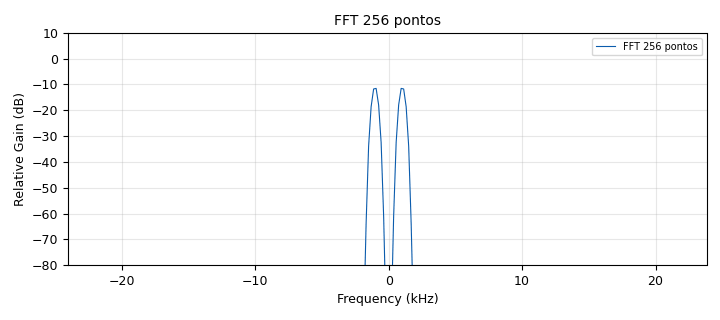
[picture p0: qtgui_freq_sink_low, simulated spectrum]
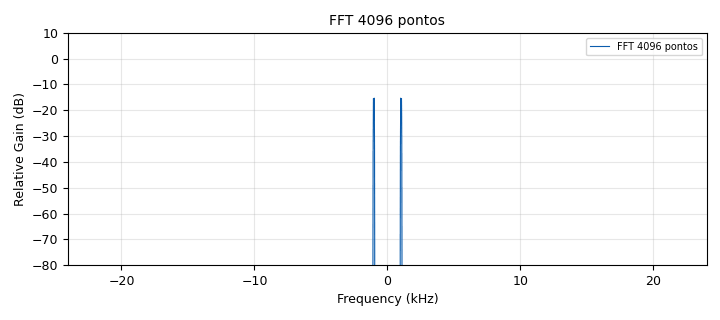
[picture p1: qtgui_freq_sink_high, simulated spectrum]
options:
  parameters:
    author: Curso PriCom - UnB
    comment: |-
      Exemplo 08 - DFT e Efeito de Janelamento
      Mostra vazamento espectral e resolucao em frequencia com diferentes tamanhos de FFT.
    description: DFT e Efeito de Janelamento
    generate_options: qt_gui
    id: exemplo_08_dft_janelamento
    output_language: python
    title: Exemplo 08 - DFT e Efeito de Janelamento
  states: {}

blocks:
- name: samp_rate
  id: variable
  parameters:
    comment: Taxa de amostragem
    value: '48000'
  states: {}
- name: note_info
  id: note
  parameters:
    comment: 'JANELAMENTO/RESOLUCAO: Com FFT de 256 pontos (resolucao ~188Hz), as duas senoides (1000 e 1050 Hz) se confundem. Com 4096 pontos (resolucao ~12Hz), sao resolvidas.'
    note: Resolucao FFT
  states: {}
- name: cos_1000
  id: analog_sig_source_x
  parameters:
    amp: '1'
    comment: Cosseno 1000 Hz
    freq: '1000'
    offset: '0'
    phase: '0'
    samp_rate: samp_rate
    type: float
    waveform: analog.GR_COS_WAVE
  states: {}
- name: cos_1050
  id: analog_sig_source_x
  parameters:
    amp: '1'
    comment: Cosseno 1050 Hz
    freq: '1050'
    offset: '0'
    phase: '0'
    samp_rate: samp_rate
    type: float
    waveform: analog.GR_COS_WAVE
  states: {}
- name: blocks_add
  id: blocks_add_xx
  parameters:
    comment: Soma dos dois cossenos
    type: float
  states: {}
- name: blocks_throttle
  id: blocks_throttle2
  parameters:
    samples_per_second: samp_rate
    type: float
  states: {}
- name: qtgui_freq_sink_low
  id: qtgui_freq_sink_x
  parameters:
    bw: samp_rate
    comment: Baixa resolucao - senoides se confundem
    fc: '0'
    fftsize: '256'
    grid: 'True'
    gui_hint: 0,0,1,1
    label1: FFT 256 pontos
    name: '"FFT 256 pontos"'
    type: float
    width1: '2'
    ymin: '-80'
  states: {}
- name: qtgui_freq_sink_high
  id: qtgui_freq_sink_x
  parameters:
    bw: samp_rate
    color1: '"red"'
    comment: Alta resolucao - senoides resolvidas
    fc: '0'
    fftsize: '4096'
    grid: 'True'
    gui_hint: 1,0,1,1
    label1: FFT 4096 pontos
    name: '"FFT 4096 pontos"'
    type: float
    width1: '2'
    ymin: '-80'
  states: {}

connections:
- [cos_1000, '0', blocks_add, '0']
- [cos_1050, '0', blocks_add, '1']
- [blocks_add, '0', blocks_throttle, '0']
- [blocks_throttle, '0', qtgui_freq_sink_low, '0']
- [blocks_throttle, '0', qtgui_freq_sink_high, '0']

metadata:
  file_format: 1
  grc_version: 3.10.12.0
